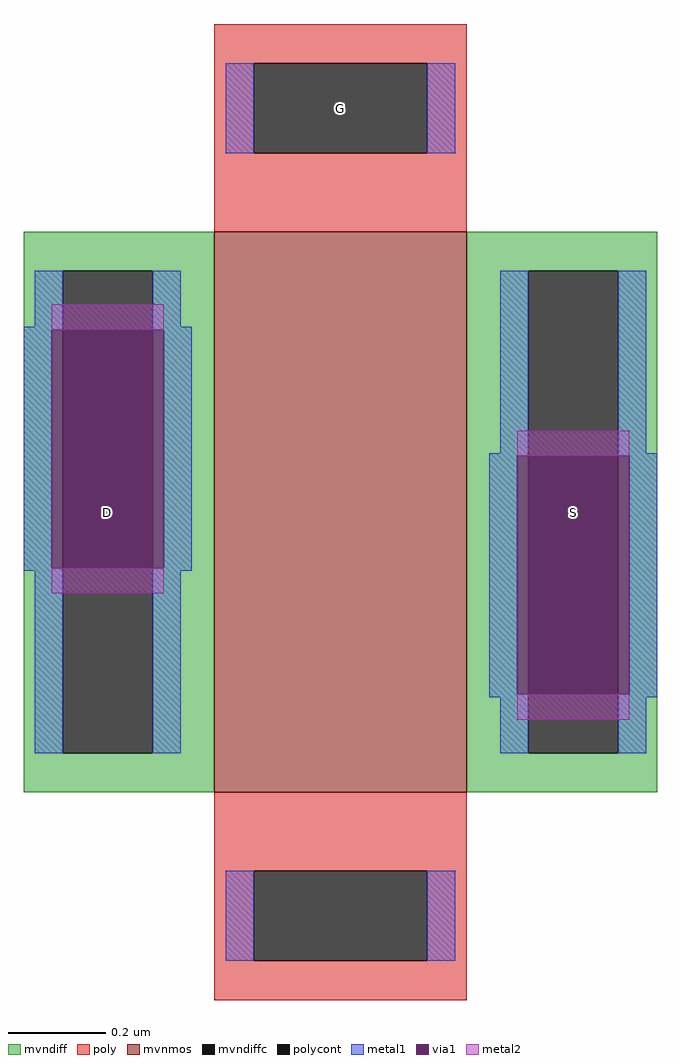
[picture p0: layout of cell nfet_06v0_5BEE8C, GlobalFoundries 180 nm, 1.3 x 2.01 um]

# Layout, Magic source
magic
tech gf180mcuD
magscale 3 26
<< mvnmos >>
rect -45 -100 45 100
<< mvndiff >>
rect -113 86 -45 100
rect -113 -86 -99 86
rect -67 -86 -45 86
rect -113 -100 -45 -86
rect 45 86 113 100
rect 45 -86 67 86
rect 99 -86 113 86
rect 45 -100 113 -86
<< mvndiffc >>
rect -99 -86 -67 86
rect 67 -86 99 86
<< poly >>
rect -45 160 45 174
rect -45 128 -31 160
rect 31 128 45 160
rect -45 100 45 128
rect -45 -128 45 -100
rect -45 -160 -31 -128
rect 31 -160 45 -128
rect -45 -174 45 -160
<< polycont >>
rect -31 128 31 160
rect -31 -160 31 -128
<< metal1 >>
rect -41 128 -31 160
rect 31 128 41 160
rect -109 66 -99 86
rect -113 65 -99 66
rect -67 66 -57 86
rect -67 65 -53 66
rect -113 -20 -103 65
rect -63 -20 -53 65
rect 57 21 67 86
rect -113 -21 -99 -20
rect -109 -86 -99 -21
rect -67 -21 -53 -20
rect 53 20 67 21
rect 99 21 109 86
rect 99 20 113 21
rect -67 -86 -57 -21
rect 53 -65 63 20
rect 103 -65 113 20
rect 53 -66 67 -65
rect 57 -86 67 -66
rect 99 -66 113 -65
rect 99 -86 109 -66
rect -41 -160 -31 -128
rect 31 -160 41 -128
<< via1 >>
rect -103 -20 -99 65
rect -99 -20 -67 65
rect -67 -20 -63 65
rect 63 -65 67 20
rect 67 -65 99 20
rect 99 -65 103 20
<< metal2 >>
rect -103 65 -63 74
rect -103 -29 -63 -20
rect 63 20 103 29
rect 63 -74 103 -65
<< labels >>
rlabel mvndiffc -83 0 -83 0 0 D
port 1 nsew
rlabel mvndiffc 83 0 83 0 0 S
port 2 nsew
rlabel polycont 0 144 0 144 0 G
port 3 nsew
<< properties >>
string gencell nfet_05v0
string library gf180mcu
string parameters w 1.0 l 0.45 m 1 ng 1 diffcov 100 polycov 100 guard 0 glc 1 grc 1 gtc 1 gbc 1 tbcov 100 rlcov 100 topc 1 botc 1 poverlap 0 doverlap 1 lmin 0.45 wmin 0.15 class mosfet compatible {nfet_05v0 nfet_06v0} full_metal 1 conn_gates 0 gate_ring 0 doports 1 viasrc +50 viadrn -50 viagate 0 ccols 1 viagb 0 viagr 0 viagl 0 viagt 0
<< end >>
